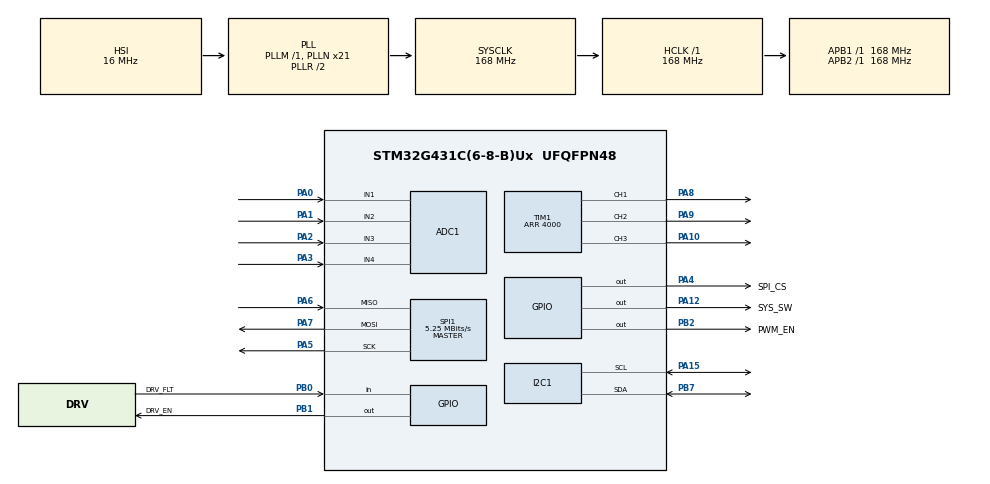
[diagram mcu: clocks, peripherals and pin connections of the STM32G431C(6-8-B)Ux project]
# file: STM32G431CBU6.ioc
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ADC1.Channel-0\#ChannelRegularConversion=ADC_CHANNEL_1
ADC1.EnableInjectedConversion=ENABLE
ADC1.ExternalTrigInjecConv=ADC_EXTERNALTRIGINJEC_T1_TRGO
ADC1.InjNumberOfConversion=4
ADC1.InjectedChannel-1\#ChannelInjectedConversion=ADC_CHANNEL_1
ADC1.InjectedChannel-2\#ChannelInjectedConversion=ADC_CHANNEL_2
ADC1.InjectedChannel-3\#ChannelInjectedConversion=ADC_CHANNEL_3
ADC1.InjectedChannel-4\#ChannelInjectedConversion=ADC_CHANNEL_4
ADC1.InjectedOffsetNumber-1\#ChannelInjectedConversion=ADC_OFFSET_NONE
ADC1.InjectedOffsetNumber-2\#ChannelInjectedConversion=ADC_OFFSET_NONE
ADC1.InjectedOffsetNumber-3\#ChannelInjectedConversion=ADC_OFFSET_NONE
ADC1.InjectedOffsetNumber-4\#ChannelInjectedConversion=ADC_OFFSET_NONE
ADC1.InjectedRank-1\#ChannelInjectedConversion=1
ADC1.InjectedRank-2\#ChannelInjectedConversion=2
ADC1.InjectedRank-3\#ChannelInjectedConversion=3
ADC1.InjectedRank-4\#ChannelInjectedConversion=4
ADC1.InjectedSamplingTime-1\#ChannelInjectedConversion=ADC_SAMPLETIME_2CYCLES_5
ADC1.InjectedSamplingTime-2\#ChannelInjectedConversion=ADC_SAMPLETIME_2CYCLES_5
ADC1.InjectedSamplingTime-3\#ChannelInjectedConversion=ADC_SAMPLETIME_2CYCLES_5
ADC1.InjectedSamplingTime-4\#ChannelInjectedConversion=ADC_SAMPLETIME_2CYCLES_5
ADC1.NbrOfConversionFlag=1
ADC1.OffsetNumber-0\#ChannelRegularConversion=ADC_OFFSET_NONE
ADC1.Rank-0\#ChannelRegularConversion=1
ADC1.Rank1_Channel=ADC_CHANNEL_1
ADC1.Rank2_Channel=ADC_CHANNEL_2
ADC1.Rank3_Channel=ADC_CHANNEL_3
ADC1.Rank4_Channel=ADC_CHANNEL_4
ADC1.SamplingTime-0\#ChannelRegularConversion=ADC_SAMPLETIME_2CYCLES_5
ADC1.master=1
I2C1.Timing=0x60505F8C
Mcu.Family=STM32G4
Mcu.Name=STM32G431C(6-8-B)Ux
Mcu.Package=UFQFPN48
NVIC.ADC1_2_IRQn=true\:0\:0\:false\:false\:true\:true\:true\:true
NVIC.PriorityGroup=NVIC_PRIORITYGROUP_4
NVIC.TIM2_IRQn=true\:1\:0\:true\:false\:true\:true\:true\:true
PA0.Mode=IN1-Single-Ended
PA0.Signal=ADC1_IN1
PA1.Mode=IN2-Single-Ended
PA1.Signal=ADC1_IN2
PA10.Signal=S_TIM1_CH3
PA12.GPIO_Label=SYS_SW
PA12.Signal=GPIO_Output
PA13.Mode=Trace_Asynchronous_SW
PA13.Signal=SYS_JTMS-SWDIO
PA14.Mode=Trace_Asynchronous_SW
PA14.Signal=SYS_JTCK-SWCLK
PA15.Mode=I2C
PA15.Signal=I2C1_SCL
PA2.Mode=IN3-Single-Ended
PA2.Signal=ADC1_IN3
PA3.Mode=IN4-Single-Ended
PA3.Signal=ADC1_IN4
PA4.GPIO_Label=SPI_CS
PA4.Signal=GPIO_Output
PA5.Mode=Full_Duplex_Master
PA5.Signal=SPI1_SCK
PA6.Mode=Full_Duplex_Master
PA6.Signal=SPI1_MISO
PA7.Mode=Full_Duplex_Master
PA7.Signal=SPI1_MOSI
PA8.Signal=S_TIM1_CH1
PA9.Signal=S_TIM1_CH2
PB0.GPIO_Label=DRV_FLT
PB0.Signal=GPIO_Input
PB1.GPIO_Label=DRV_EN
PB1.Signal=GPIO_Output
PB2.GPIO_Label=PWM_EN
PB2.Signal=GPIO_Output
PB3.Mode=Trace_Asynchronous_SW
PB3.Signal=SYS_JTDO-SWO
PB7.Mode=I2C
PB7.Signal=I2C1_SDA
ProjectManager.HeapSize=0x200
ProjectManager.StackSize=0x400
ProjectManager.TargetToolchain=STM32CubeIDE
RCC.ADC12Freq_Value=168000000
RCC.AHBFreq_Value=168000000
RCC.APB1Freq_Value=168000000
RCC.APB1TimFreq_Value=168000000
RCC.APB2Freq_Value=168000000
RCC.APB2TimFreq_Value=168000000
RCC.CortexFreq_Value=168000000
RCC.EXTERNAL_CLOCK_VALUE=12288000
RCC.HCLKFreq_Value=168000000
RCC.HSE_VALUE=8000000
RCC.HSI48_VALUE=48000000
RCC.HSI_VALUE=16000000
RCC.LSE_VALUE=32768
RCC.PLLN=21
RCC.SYSCLKFreq_VALUE=168000000
RCC.SYSCLKSource=RCC_SYSCLKSOURCE_PLLCLK
RCC.USBFreq_Value=168000000
RCC.VCOOutputFreq_Value=336000000
SH.S_TIM1_CH1.0=TIM1_CH1,PWM Generation1 CH1
SH.S_TIM1_CH2.0=TIM1_CH2,PWM Generation2 CH2
SH.S_TIM1_CH3.0=TIM1_CH3,PWM Generation3 CH3
SPI1.BaudRatePrescaler=SPI_BAUDRATEPRESCALER_32
SPI1.CLKPhase=SPI_PHASE_2EDGE
SPI1.CalculateBaudRate=5.25 MBits/s
SPI1.DataSize=SPI_DATASIZE_16BIT
SPI1.Direction=SPI_DIRECTION_2LINES
SPI1.Mode=SPI_MODE_MASTER
SPI1.VirtualType=VM_MASTER
TIM1.Channel-PWM\ Generation1\ CH1=TIM_CHANNEL_1
TIM1.Channel-PWM\ Generation2\ CH2=TIM_CHANNEL_2
TIM1.Channel-PWM\ Generation3\ CH3=TIM_CHANNEL_3
TIM1.Channel-PWM\ Generation4\ No\ Output=TIM_CHANNEL_4
TIM1.CounterMode=TIM_COUNTERMODE_CENTERALIGNED1
TIM1.OCMode_PWM-PWM\ Generation4\ No\ Output=TIM_OCMODE_PWM2
TIM1.PeriodNoDither=4000
TIM1.TIM_MasterOutputTrigger=TIM_TRGO_OC4REF
TIM16.Channel=TIM_CHANNEL_1
TIM2.AutoReloadPreload=TIM_AUTORELOAD_PRELOAD_ENABLE
TIM2.PeriodNoDither=40000
TIM2.Prescaler=40
VP_SYS_VS_DBSignals.Mode=DisableDeadBatterySignals
VP_TIM16_VS_ClockSourceINT.Mode=Enable_Timer
VP_TIM16_VS_no_output1.Mode=Output Compare1 No Output
VP_TIM1_VS_no_output4.Mode=PWM Generation4 No Output
VP_TIM2_VS_ClockSourceINT.Mode=Internal
board=custom

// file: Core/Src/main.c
/* USER CODE BEGIN Header */
/**
  ******************************************************************************
  * @file           : main.c
  * @brief          : Main program body
  ******************************************************************************
  * @attention
  *
  * Copyright (c) 2025 STMicroelectronics.
  * All rights reserved.
  *
  * This software is licensed under terms that can be found in the LICENSE file
  * in the root directory of this software component.
  * If no LICENSE file comes with this software, it is provided AS-IS.
  *
  ******************************************************************************
  */
/* USER CODE END Header */
#include "main.h"

/* USER CODE BEGIN Includes */
#include "GlobalVariables.h"
#include <stdint.h>
#include "GlobalConstants.h"
#include "GlobalStruct.h"
#include "GlobalVariables.h"
#include "SignalReadWrite.h"
/* USER CODE END Includes */

ADC_HandleTypeDef hadc1;

SPI_HandleTypeDef hspi1;

TIM_HandleTypeDef htim1;
TIM_HandleTypeDef htim2;
TIM_HandleTypeDef htim16;

void SystemClock_Config(void);
static void MX_GPIO_Init(void);
static void MX_TIM1_Init(void);
static void MX_ADC1_Init(void);
static void MX_SPI1_Init(void);
static void MX_I2C1_Init(void);
static void MX_TIM16_Init(void);
static void MX_TIM2_Init(void);

int main(void)
{

  /* MCU Configuration--------------------------------------------------------*/

  /* Reset of all peripherals, Initializes the Flash interface and the Systick. */
  HAL_Init();

  /* Configure the system clock */
  SystemClock_Config();

  /* Initialize all configured peripherals */
  MX_GPIO_Init();
  MX_TIM1_Init();
  MX_ADC1_Init();
  MX_SPI1_Init();
  MX_I2C1_Init();
  MX_TIM16_Init();
  MX_TIM2_Init();
  /* USER CODE BEGIN 2 */
  HAL_TIM_Base_Start_IT(&htim1);
  HAL_ADCEx_InjectedStart_IT(&hadc1);
  HAL_TIM_PWM_Start(&htim1, TIM_CHANNEL_1);
  HAL_TIM_PWM_Start(&htim1, TIM_CHANNEL_2);
  HAL_TIM_PWM_Start(&htim1, TIM_CHANNEL_3);

  TIM1 -> RCR = 1;
  TIM1 -> EGR  |= TIM_EGR_UG;
  TIM1 -> CNT = TIM1 -> ARR;
  TIM1 -> CR1 &= ~(TIM_CR1_CMS);
  TIM1 -> CR1 |= TIM_CR1_DIR;
  TIM1 -> CR1 |= TIM_CR1_CMS;

  TIM1 -> ARR = COUNTERPERIOD;
  TIM1 -> CCR4 = (TIM1 -> ARR) - 40;//for Carrier Top

  HAL_TIM_Base_Start_IT(&htim2);
  TIM2->PSC = PRESCALERFOR1MHZ;  // prescaler
  TIM2 -> ARR = COUNTERPERIOD1KHZ;

  HAL_TIM_Base_Start_IT(&htim16);

  LL_I2C_Enable(I2C1);

  /* USER CODE END 2 */

  /* Infinite loop */
  while (1)
  {

  }
}

void SystemClock_Config(void)
{
  RCC_OscInitTypeDef RCC_OscInitStruct = {0};
  RCC_ClkInitTypeDef RCC_ClkInitStruct = {0};

  /** Configure the main internal regulator output voltage
  */
  HAL_PWREx_ControlVoltageScaling(PWR_REGULATOR_VOLTAGE_SCALE1_BOOST);

  /** Initializes the RCC Oscillators according to the specified parameters
  * in the RCC_OscInitTypeDef structure.
  */
  RCC_OscInitStruct.OscillatorType = RCC_OSCILLATORTYPE_HSI;
  RCC_OscInitStruct.HSIState = RCC_HSI_ON;
  RCC_OscInitStruct.HSICalibrationValue = RCC_HSICALIBRATION_DEFAULT;
  RCC_OscInitStruct.PLL.PLLState = RCC_PLL_ON;
  RCC_OscInitStruct.PLL.PLLSource = RCC_PLLSOURCE_HSI;
  RCC_OscInitStruct.PLL.PLLM = RCC_PLLM_DIV1;
  RCC_OscInitStruct.PLL.PLLN = 21;
  RCC_OscInitStruct.PLL.PLLP = RCC_PLLP_DIV2;
  RCC_OscInitStruct.PLL.PLLQ = RCC_PLLQ_DIV2;
  RCC_OscInitStruct.PLL.PLLR = RCC_PLLR_DIV2;
  if (HAL_RCC_OscConfig(&RCC_OscInitStruct) != HAL_OK)
  {
    Error_Handler();
  }

  /** Initializes the CPU, AHB and APB buses clocks
  */
  RCC_ClkInitStruct.ClockType = RCC_CLOCKTYPE_HCLK|RCC_CLOCKTYPE_SYSCLK
                              |RCC_CLOCKTYPE_PCLK1|RCC_CLOCKTYPE_PCLK2;
  RCC_ClkInitStruct.SYSCLKSource = RCC_SYSCLKSOURCE_PLLCLK;
  RCC_ClkInitStruct.AHBCLKDivider = RCC_SYSCLK_DIV1;
  RCC_ClkInitStruct.APB1CLKDivider = RCC_HCLK_DIV1;
  RCC_ClkInitStruct.APB2CLKDivider = RCC_HCLK_DIV1;

  if (HAL_RCC_ClockConfig(&RCC_ClkInitStruct, FLASH_LATENCY_4) != HAL_OK)
  {
    Error_Handler();
  }
}

static void MX_ADC1_Init(void)
{

  ADC_MultiModeTypeDef multimode = {0};
  ADC_ChannelConfTypeDef sConfig = {0};
  ADC_InjectionConfTypeDef sConfigInjected = {0};

  /** Common config
  */
  hadc1.Instance = ADC1;
  hadc1.Init.ClockPrescaler = ADC_CLOCK_SYNC_PCLK_DIV4;
  hadc1.Init.Resolution = ADC_RESOLUTION_12B;
  hadc1.Init.DataAlign = ADC_DATAALIGN_RIGHT;
  hadc1.Init.GainCompensation = 0;
  hadc1.Init.ScanConvMode = ADC_SCAN_ENABLE;
  hadc1.Init.EOCSelection = ADC_EOC_SINGLE_CONV;
  hadc1.Init.LowPowerAutoWait = DISABLE;
  hadc1.Init.ContinuousConvMode = DISABLE;
  hadc1.Init.NbrOfConversion = 1;
  hadc1.Init.DiscontinuousConvMode = DISABLE;
  hadc1.Init.ExternalTrigConv = ADC_SOFTWARE_START;
  hadc1.Init.ExternalTrigConvEdge = ADC_EXTERNALTRIGCONVEDGE_NONE;
  hadc1.Init.DMAContinuousRequests = DISABLE;
  hadc1.Init.Overrun = ADC_OVR_DATA_PRESERVED;
  hadc1.Init.OversamplingMode = DISABLE;
  if (HAL_ADC_Init(&hadc1) != HAL_OK)
  {
    Error_Handler();
  }

  /** Configure the ADC multi-mode
  */
  multimode.Mode = ADC_MODE_INDEPENDENT;
  if (HAL_ADCEx_MultiModeConfigChannel(&hadc1, &multimode) != HAL_OK)
  {
    Error_Handler();
  }

  /** Configure Regular Channel
  */
  sConfig.Channel = ADC_CHANNEL_1;
  sConfig.Rank = ADC_REGULAR_RANK_1;
  sConfig.SamplingTime = ADC_SAMPLETIME_2CYCLES_5;
  sConfig.SingleDiff = ADC_SINGLE_ENDED;
  sConfig.OffsetNumber = ADC_OFFSET_NONE;
  sConfig.Offset = 0;
  if (HAL_ADC_ConfigChannel(&hadc1, &sConfig) != HAL_OK)
  {
    Error_Handler();
  }

  /** Configure Injected Channel
  */
  sConfigInjected.InjectedChannel = ADC_CHANNEL_1;
  sConfigInjected.InjectedRank = ADC_INJECTED_RANK_1;
  sConfigInjected.InjectedSamplingTime = ADC_SAMPLETIME_2CYCLES_5;
  sConfigInjected.InjectedSingleDiff = ADC_SINGLE_ENDED;
  sConfigInjected.InjectedOffsetNumber = ADC_OFFSET_NONE;
  sConfigInjected.InjectedOffset = 0;
  sConfigInjected.InjectedNbrOfConversion = 4;
  sConfigInjected.InjectedDiscontinuousConvMode = DISABLE;
  sConfigInjected.AutoInjectedConv = DISABLE;
  sConfigInjected.QueueInjectedContext = DISABLE;
  sConfigInjected.ExternalTrigInjecConv = ADC_EXTERNALTRIGINJEC_T1_TRGO;
  sConfigInjected.ExternalTrigInjecConvEdge = ADC_EXTERNALTRIGINJECCONV_EDGE_RISING;
  sConfigInjected.InjecOversamplingMode = DISABLE;
  if (HAL_ADCEx_InjectedConfigChannel(&hadc1, &sConfigInjected) != HAL_OK)
  {
    Error_Handler();
  }

  /** Configure Injected Channel
  */
  sConfigInjected.InjectedChannel = ADC_CHANNEL_2;
  sConfigInjected.InjectedRank = ADC_INJECTED_RANK_2;
  if (HAL_ADCEx_InjectedConfigChannel(&hadc1, &sConfigInjected) != HAL_OK)
  {
    Error_Handler();
  }

  /** Configure Injected Channel
  */
  sConfigInjected.InjectedChannel = ADC_CHANNEL_3;
  sConfigInjected.InjectedRank = ADC_INJECTED_RANK_3;
  if (HAL_ADCEx_InjectedConfigChannel(&hadc1, &sConfigInjected) != HAL_OK)
  {
    Error_Handler();
  }

  /** Configure Injected Channel
  */
  sConfigInjected.InjectedChannel = ADC_CHANNEL_4;
  sConfigInjected.InjectedRank = ADC_INJECTED_RANK_4;
  if (HAL_ADCEx_InjectedConfigChannel(&hadc1, &sConfigInjected) != HAL_OK)
  {
    Error_Handler();
  }

}

static void MX_I2C1_Init(void)
{

  LL_I2C_InitTypeDef I2C_InitStruct = {0};

  LL_GPIO_InitTypeDef GPIO_InitStruct = {0};
  RCC_PeriphCLKInitTypeDef PeriphClkInit = {0};

  /** Initializes the peripherals clocks
  */
  PeriphClkInit.PeriphClockSelection = RCC_PERIPHCLK_I2C1;
  PeriphClkInit.I2c1ClockSelection = RCC_I2C1CLKSOURCE_PCLK1;
  if (HAL_RCCEx_PeriphCLKConfig(&PeriphClkInit) != HAL_OK)
  {
    Error_Handler();
  }

  LL_AHB2_GRP1_EnableClock(LL_AHB2_GRP1_PERIPH_GPIOA);
  LL_AHB2_GRP1_EnableClock(LL_AHB2_GRP1_PERIPH_GPIOB);
  /**I2C1 GPIO Configuration
  PA15   ------> I2C1_SCL
  PB7   ------> I2C1_SDA
  */
  GPIO_InitStruct.Pin = LL_GPIO_PIN_15;
  GPIO_InitStruct.Mode = LL_GPIO_MODE_ALTERNATE;
  GPIO_InitStruct.Speed = LL_GPIO_SPEED_FREQ_LOW;
  GPIO_InitStruct.OutputType = LL_GPIO_OUTPUT_OPENDRAIN;
  GPIO_InitStruct.Pull = LL_GPIO_PULL_NO;
  GPIO_InitStruct.Alternate = LL_GPIO_AF_4;
  LL_GPIO_Init(GPIOA, &GPIO_InitStruct);

  GPIO_InitStruct.Pin = LL_GPIO_PIN_7;
  GPIO_InitStruct.Mode = LL_GPIO_MODE_ALTERNATE;
  GPIO_InitStruct.Speed = LL_GPIO_SPEED_FREQ_LOW;
  GPIO_InitStruct.OutputType = LL_GPIO_OUTPUT_OPENDRAIN;
  GPIO_InitStruct.Pull = LL_GPIO_PULL_NO;
  GPIO_InitStruct.Alternate = LL_GPIO_AF_4;
  LL_GPIO_Init(GPIOB, &GPIO_InitStruct);

  /* Peripheral clock enable */
  LL_APB1_GRP1_EnableClock(LL_APB1_GRP1_PERIPH_I2C1);

  /** I2C Initialization
  */
  I2C_InitStruct.PeripheralMode = LL_I2C_MODE_I2C;
  I2C_InitStruct.Timing = 0x60505F8C;
  I2C_InitStruct.AnalogFilter = LL_I2C_ANALOGFILTER_ENABLE;
  I2C_InitStruct.DigitalFilter = 0;
  I2C_InitStruct.OwnAddress1 = 0;
  I2C_InitStruct.TypeAcknowledge = LL_I2C_ACK;
  I2C_InitStruct.OwnAddrSize = LL_I2C_OWNADDRESS1_7BIT;
  LL_I2C_Init(I2C1, &I2C_InitStruct);
  LL_I2C_EnableAutoEndMode(I2C1);
  LL_I2C_SetOwnAddress2(I2C1, 0, LL_I2C_OWNADDRESS2_NOMASK);
  LL_I2C_DisableOwnAddress2(I2C1);
  LL_I2C_DisableGeneralCall(I2C1);
  LL_I2C_EnableClockStretching(I2C1);

}

static void MX_SPI1_Init(void)
{

  /* SPI1 parameter configuration*/
  hspi1.Instance = SPI1;
  hspi1.Init.Mode = SPI_MODE_MASTER;
  hspi1.Init.Direction = SPI_DIRECTION_2LINES;
  hspi1.Init.DataSize = SPI_DATASIZE_16BIT;
  hspi1.Init.CLKPolarity = SPI_POLARITY_LOW;
  hspi1.Init.CLKPhase = SPI_PHASE_2EDGE;
  hspi1.Init.NSS = SPI_NSS_SOFT;
  hspi1.Init.BaudRatePrescaler = SPI_BAUDRATEPRESCALER_32;
  hspi1.Init.FirstBit = SPI_FIRSTBIT_MSB;
  hspi1.Init.TIMode = SPI_TIMODE_DISABLE;
  hspi1.Init.CRCCalculation = SPI_CRCCALCULATION_DISABLE;
  hspi1.Init.CRCPolynomial = 7;
  hspi1.Init.CRCLength = SPI_CRC_LENGTH_DATASIZE;
  hspi1.Init.NSSPMode = SPI_NSS_PULSE_DISABLE;
  if (HAL_SPI_Init(&hspi1) != HAL_OK)
  {
    Error_Handler();
  }

}

static void MX_TIM1_Init(void)
{

  TIM_MasterConfigTypeDef sMasterConfig = {0};
  TIM_OC_InitTypeDef sConfigOC = {0};
  TIM_BreakDeadTimeConfigTypeDef sBreakDeadTimeConfig = {0};

  htim1.Instance = TIM1;
  htim1.Init.Prescaler = 0;
  htim1.Init.CounterMode = TIM_COUNTERMODE_CENTERALIGNED1;
  htim1.Init.Period = 4000;
  htim1.Init.ClockDivision = TIM_CLOCKDIVISION_DIV1;
  htim1.Init.RepetitionCounter = 0;
  htim1.Init.AutoReloadPreload = TIM_AUTORELOAD_PRELOAD_DISABLE;
  if (HAL_TIM_PWM_Init(&htim1) != HAL_OK)
  {
    Error_Handler();
  }
  sMasterConfig.MasterOutputTrigger = TIM_TRGO_OC4REF;
  sMasterConfig.MasterOutputTrigger2 = TIM_TRGO2_RESET;
  sMasterConfig.MasterSlaveMode = TIM_MASTERSLAVEMODE_DISABLE;
  if (HAL_TIMEx_MasterConfigSynchronization(&htim1, &sMasterConfig) != HAL_OK)
  {
    Error_Handler();
  }
  sConfigOC.OCMode = TIM_OCMODE_PWM1;
  sConfigOC.Pulse = 0;
  sConfigOC.OCPolarity = TIM_OCPOLARITY_HIGH;
  sConfigOC.OCNPolarity = TIM_OCNPOLARITY_HIGH;
  sConfigOC.OCFastMode = TIM_OCFAST_DISABLE;
  sConfigOC.OCIdleState = TIM_OCIDLESTATE_RESET;
  sConfigOC.OCNIdleState = TIM_OCNIDLESTATE_RESET;
  if (HAL_TIM_PWM_ConfigChannel(&htim1, &sConfigOC, TIM_CHANNEL_1) != HAL_OK)
  {
    Error_Handler();
  }
  if (HAL_TIM_PWM_ConfigChannel(&htim1, &sConfigOC, TIM_CHANNEL_2) != HAL_OK)
  {
    Error_Handler();
  }
  if (HAL_TIM_PWM_ConfigChannel(&htim1, &sConfigOC, TIM_CHANNEL_3) != HAL_OK)
  {
    Error_Handler();
  }
  sConfigOC.OCMode = TIM_OCMODE_PWM2;
  if (HAL_TIM_PWM_ConfigChannel(&htim1, &sConfigOC, TIM_CHANNEL_4) != HAL_OK)
  {
    Error_Handler();
  }
  sBreakDeadTimeConfig.OffStateRunMode = TIM_OSSR_DISABLE;
  sBreakDeadTimeConfig.OffStateIDLEMode = TIM_OSSI_DISABLE;
  sBreakDeadTimeConfig.LockLevel = TIM_LOCKLEVEL_OFF;
  sBreakDeadTimeConfig.DeadTime = 0;
  sBreakDeadTimeConfig.BreakState = TIM_BREAK_DISABLE;
  sBreakDeadTimeConfig.BreakPolarity = TIM_BREAKPOLARITY_HIGH;
  sBreakDeadTimeConfig.BreakFilter = 0;
  sBreakDeadTimeConfig.BreakAFMode = TIM_BREAK_AFMODE_INPUT;
  sBreakDeadTimeConfig.Break2State = TIM_BREAK2_DISABLE;
  sBreakDeadTimeConfig.Break2Polarity = TIM_BREAK2POLARITY_HIGH;
  sBreakDeadTimeConfig.Break2Filter = 0;
  sBreakDeadTimeConfig.Break2AFMode = TIM_BREAK_AFMODE_INPUT;
  sBreakDeadTimeConfig.AutomaticOutput = TIM_AUTOMATICOUTPUT_DISABLE;
  if (HAL_TIMEx_ConfigBreakDeadTime(&htim1, &sBreakDeadTimeConfig) != HAL_OK)
  {
    Error_Handler();
  }
  HAL_TIM_MspPostInit(&htim1);

}

static void MX_TIM2_Init(void)
{

  TIM_ClockConfigTypeDef sClockSourceConfig = {0};
  TIM_MasterConfigTypeDef sMasterConfig = {0};

  htim2.Instance = TIM2;
  htim2.Init.Prescaler = 40;
  htim2.Init.CounterMode = TIM_COUNTERMODE_UP;
  htim2.Init.Period = 40000;
  htim2.Init.ClockDivision = TIM_CLOCKDIVISION_DIV1;
  htim2.Init.AutoReloadPreload = TIM_AUTORELOAD_PRELOAD_ENABLE;
  if (HAL_TIM_Base_Init(&htim2) != HAL_OK)
  {
    Error_Handler();
  }
  sClockSourceConfig.ClockSource = TIM_CLOCKSOURCE_INTERNAL;
  if (HAL_TIM_ConfigClockSource(&htim2, &sClockSourceConfig) != HAL_OK)
  {
    Error_Handler();
  }
  sMasterConfig.MasterOutputTrigger = TIM_TRGO_RESET;
  sMasterConfig.MasterSlaveMode = TIM_MASTERSLAVEMODE_DISABLE;
  if (HAL_TIMEx_MasterConfigSynchronization(&htim2, &sMasterConfig) != HAL_OK)
  {
    Error_Handler();
  }

}

static void MX_TIM16_Init(void)
{

  TIM_OC_InitTypeDef sConfigOC = {0};
  TIM_BreakDeadTimeConfigTypeDef sBreakDeadTimeConfig = {0};

  htim16.Instance = TIM16;
  htim16.Init.Prescaler = 0;
  htim16.Init.CounterMode = TIM_COUNTERMODE_UP;
  htim16.Init.Period = 65535;
  htim16.Init.ClockDivision = TIM_CLOCKDIVISION_DIV1;
  htim16.Init.RepetitionCounter = 0;
  htim16.Init.AutoReloadPreload = TIM_AUTORELOAD_PRELOAD_DISABLE;
  if (HAL_TIM_Base_Init(&htim16) != HAL_OK)
  {
    Error_Handler();
  }
  if (HAL_TIM_OC_Init(&htim16) != HAL_OK)
  {
    Error_Handler();
  }
  sConfigOC.OCMode = TIM_OCMODE_TIMING;
  sConfigOC.Pulse = 0;
  sConfigOC.OCPolarity = TIM_OCPOLARITY_HIGH;
  sConfigOC.OCNPolarity = TIM_OCNPOLARITY_HIGH;
  sConfigOC.OCFastMode = TIM_OCFAST_DISABLE;
  sConfigOC.OCIdleState = TIM_OCIDLESTATE_RESET;
  sConfigOC.OCNIdleState = TIM_OCNIDLESTATE_RESET;
  if (HAL_TIM_OC_ConfigChannel(&htim16, &sConfigOC, TIM_CHANNEL_1) != HAL_OK)
  {
    Error_Handler();
  }
  sBreakDeadTimeConfig.OffStateRunMode = TIM_OSSR_DISABLE;
  sBreakDeadTimeConfig.OffStateIDLEMode = TIM_OSSI_DISABLE;
  sBreakDeadTimeConfig.LockLevel = TIM_LOCKLEVEL_OFF;
  sBreakDeadTimeConfig.DeadTime = 0;
  sBreakDeadTimeConfig.BreakState = TIM_BREAK_DISABLE;
  sBreakDeadTimeConfig.BreakPolarity = TIM_BREAKPOLARITY_HIGH;
  sBreakDeadTimeConfig.BreakFilter = 0;
  sBreakDeadTimeConfig.AutomaticOutput = TIM_AUTOMATICOUTPUT_DISABLE;
  if (HAL_TIMEx_ConfigBreakDeadTime(&htim16, &sBreakDeadTimeConfig) != HAL_OK)
  {
    Error_Handler();
  }

}

static void MX_GPIO_Init(void)
{
  GPIO_InitTypeDef GPIO_InitStruct = {0};

  /* GPIO Ports Clock Enable */
  __HAL_RCC_GPIOA_CLK_ENABLE();
  __HAL_RCC_GPIOB_CLK_ENABLE();

  /*Configure GPIO pin Output Level */
  HAL_GPIO_WritePin(GPIOA, SPI_CS_Pin|SYS_SW_Pin, GPIO_PIN_RESET);

  /*Configure GPIO pin Output Level */
  HAL_GPIO_WritePin(GPIOB, DRV_EN_Pin|PWM_EN_Pin, GPIO_PIN_RESET);

  /*Configure GPIO pins : SPI_CS_Pin SYS_SW_Pin */
  GPIO_InitStruct.Pin = SPI_CS_Pin|SYS_SW_Pin;
  GPIO_InitStruct.Mode = GPIO_MODE_OUTPUT_PP;
  GPIO_InitStruct.Pull = GPIO_NOPULL;
  GPIO_InitStruct.Speed = GPIO_SPEED_FREQ_LOW;
  HAL_GPIO_Init(GPIOA, &GPIO_InitStruct);

  /*Configure GPIO pin : DRV_FLT_Pin */
  GPIO_InitStruct.Pin = DRV_FLT_Pin;
  GPIO_InitStruct.Mode = GPIO_MODE_INPUT;
  GPIO_InitStruct.Pull = GPIO_NOPULL;
  HAL_GPIO_Init(DRV_FLT_GPIO_Port, &GPIO_InitStruct);

  /*Configure GPIO pins : DRV_EN_Pin PWM_EN_Pin */
  GPIO_InitStruct.Pin = DRV_EN_Pin|PWM_EN_Pin;
  GPIO_InitStruct.Mode = GPIO_MODE_OUTPUT_PP;
  GPIO_InitStruct.Pull = GPIO_NOPULL;
  GPIO_InitStruct.Speed = GPIO_SPEED_FREQ_LOW;
  HAL_GPIO_Init(GPIOB, &GPIO_InitStruct);

}

void Error_Handler(void)
{
  __disable_irq();
  while (1)
  {
  }
}
